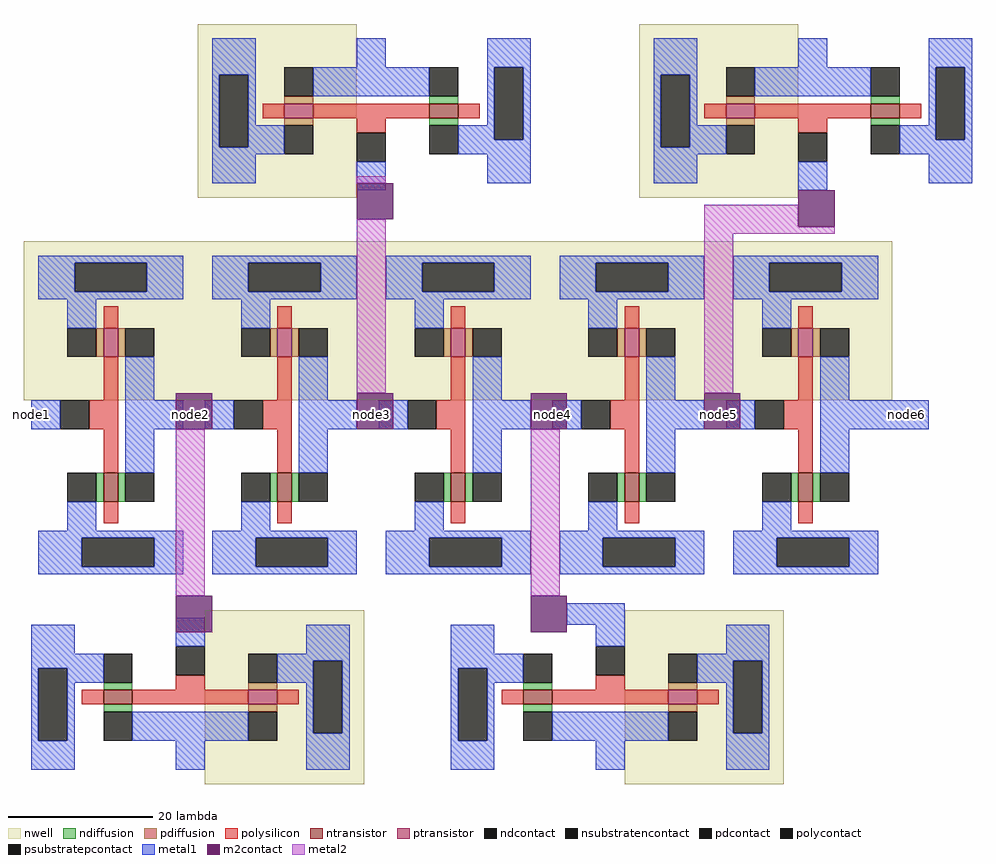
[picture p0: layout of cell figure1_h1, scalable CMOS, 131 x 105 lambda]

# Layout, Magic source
magic
tech scmos
<< metal1 >>
rect 99 56 103 59
rect 37 23 38 27
rect 61 23 62 27
rect 85 23 86 27
rect 106 23 117 27
rect 67 -4 75 -1
<< m2contact >>
rect 38 52 43 57
rect 99 51 104 56
rect 13 23 18 28
rect 38 23 43 28
rect 62 23 67 28
rect 86 23 91 28
rect 13 -5 18 0
rect 62 -5 67 0
<< metal2 >>
rect 38 57 42 58
rect 38 28 42 52
rect 86 51 99 54
rect 86 50 104 51
rect 86 28 90 50
rect 13 0 17 23
rect 62 0 66 23
use inv  inv_0
transform 1 0 17 0 1 33
box -25 -30 -1 16
use inv  inv_1
transform 1 0 41 0 1 33
box -25 -30 -1 16
use inv  inv_2
transform 1 0 65 0 1 33
box -25 -30 -1 16
use inv  inv_3
transform 1 0 89 0 1 33
box -25 -30 -1 16
use inv  inv_4
transform 1 0 113 0 1 33
box -25 -30 -1 16
use inv  inv_5
transform 0 1 23 -1 0 -27
box -25 -30 -1 16
use inv  inv_6
transform 0 -1 32 1 0 80
box -25 -30 -1 16
use inv  inv_7
transform 0 1 81 -1 0 -27
box -25 -30 -1 16
use inv  inv_8
transform 0 -1 93 1 0 80
box -25 -30 -1 16
<< labels >>
rlabel space -7 25 -7 25 3 node1
rlabel m2contact 15 25 15 25 1 node2
rlabel m2contact 40 25 40 25 1 node3
rlabel m2contact 65 25 65 25 1 node4
rlabel m2contact 88 25 88 25 1 node5
rlabel metal1 114 25 114 25 1 node6
<< end >>

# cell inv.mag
magic
tech scmos
<< nwell >>
rect -25 -6 -1 16
<< ntransistor >>
rect -14 -20 -12 -16
<< ptransistor >>
rect -14 0 -12 4
<< ndiffusion >>
rect -15 -20 -14 -16
rect -12 -20 -11 -16
<< pdiffusion >>
rect -15 0 -14 4
rect -12 0 -11 4
<< ndcontact >>
rect -19 -20 -15 -16
rect -11 -20 -7 -16
<< pdcontact >>
rect -19 0 -15 4
rect -11 0 -7 4
<< psubstratepcontact >>
rect -17 -29 -7 -25
<< nsubstratencontact >>
rect -18 9 -8 13
<< polysilicon >>
rect -14 4 -12 7
rect -14 -6 -12 0
rect -16 -10 -12 -6
rect -14 -16 -12 -10
rect -14 -23 -12 -20
<< polycontact >>
rect -20 -10 -16 -6
<< metal1 >>
rect -23 13 -3 14
rect -23 9 -18 13
rect -8 9 -3 13
rect -23 8 -3 9
rect -19 4 -15 8
rect -11 -6 -7 0
rect -24 -10 -20 -6
rect -11 -10 -3 -6
rect -11 -16 -7 -10
rect -19 -24 -15 -20
rect -23 -25 -3 -24
rect -23 -29 -17 -25
rect -7 -29 -3 -25
rect -23 -30 -3 -29
<< labels >>
rlabel metal1 -21 -26 -21 -26 2 Gnd
rlabel metal1 -22 12 -22 12 4 Vdd
<< end >>
